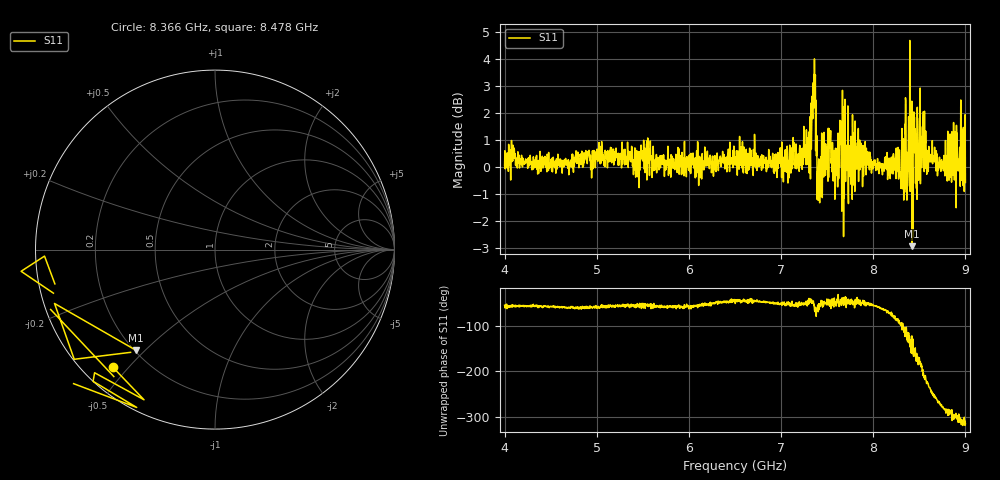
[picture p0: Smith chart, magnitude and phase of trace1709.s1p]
! Created with skrf 1.8.0 (http://scikit-rf.org).
# Hz S RI R 50.0
!freq ReS11 ImS11
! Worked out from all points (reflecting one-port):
!   1601 points, 4 GHz to 9 GHz, reference 50 ohm
!   lowest |S11| = -2.9 dB at 8.422 GHz (marker M1), VSWR 5.97, Z = 10.3 - j23.5 ohm
!   phase of S11 starts at -55 deg and turns -260 deg over the sweep
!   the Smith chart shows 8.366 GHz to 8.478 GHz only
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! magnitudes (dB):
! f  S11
! 4 GHz  0.1
! 4.625 GHz  -0.2
! 5.25 GHz  0.3
! 5.875 GHz  -0.1
! 6.5 GHz  0.3
! 7.125 GHz  0.2
! 7.294 GHz  1.0
! 7.356 GHz  3.4
! 7.412 GHz  -0.5
! 7.475 GHz  0.2
! 7.538 GHz  1.3
! 7.609 GHz  0.7
! 7.65 GHz  1.7
! 7.75 GHz  -0.4
! 7.828 GHz  0.9
! 8.262 GHz  0.0
! 8.316 GHz  -0.8
! 8.331 GHz  -1.2
! 8.356 GHz  1.4
! 8.375 GHz  0.0
! 8.422 GHz  -2.9
! 8.447 GHz  1.8
! 8.459 GHz  -0.6
! 8.475 GHz  -1.2
! 8.522 GHz  0.8
! 8.722 GHz  0.0
! 8.972 GHz  0.4
! 9 GHz  -0.6
